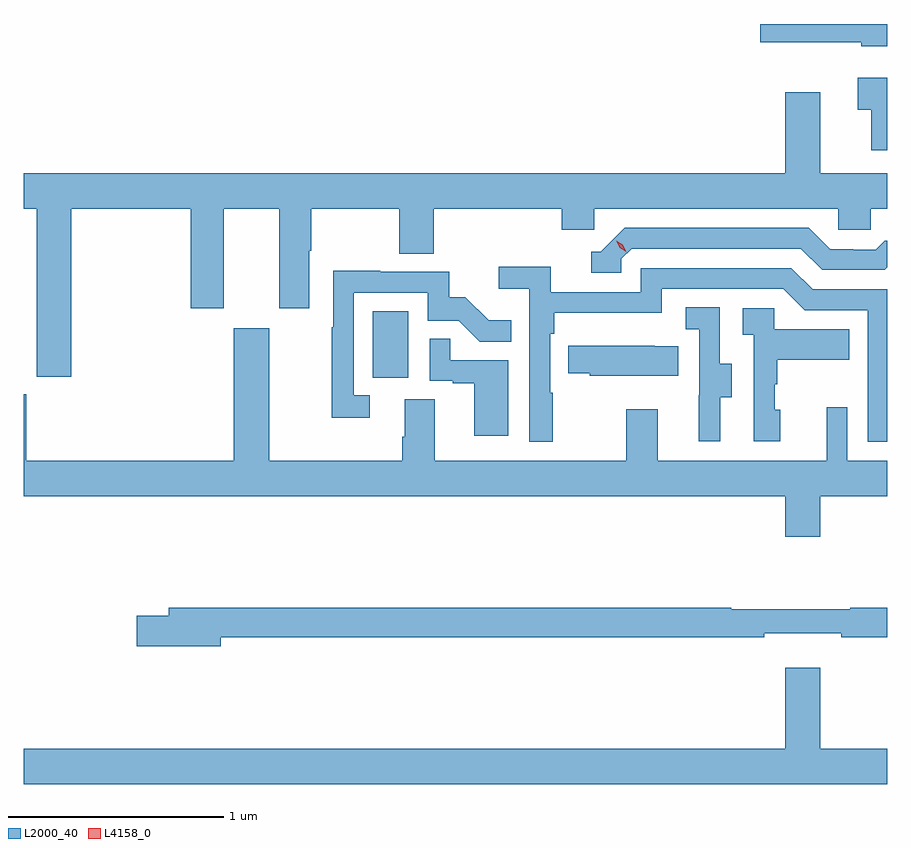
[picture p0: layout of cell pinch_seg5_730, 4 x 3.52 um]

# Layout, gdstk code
import gdstk
lib = gdstk.Library(unit=1e-6, precision=1e-09)
def R(c, l, rs):  # rectangles x0, y0, x1, y1
    for r in rs: c.add(gdstk.rectangle(r[:2], r[2:], *l))
def P(c, l, *ps):  # polygons
    for p in ps: c.add(gdstk.Polygon(p, *l))
L2000_40 = (2000, 40)
L4158_0 = (4158, 0)

pinch_seg5_730 = lib.new_cell('pinch_seg5_730')
R(pinch_seg5_730, L2000_40, [(858.404,905.262,858.568,905.569)])
P(pinch_seg5_730, L2000_40, [(860.786,906.899),(860.196,906.899),(860.196,906.815),(860.664,906.815),(860.664,906.797),(860.786,906.797)],
  [(860.786,906.649),(860.648,906.649),(860.648,906.502),(860.71,906.502),(860.71,906.315),(860.786,906.315)],
  [(857.006,906.044),(857.561,906.044),(857.561,905.583),(857.713,905.583),(857.713,906.044),(857.969,906.044),(857.969,905.583),(858.109,905.583),(858.109,905.848),(858.117,905.848),(858.117,906.044),(858.526,906.044),(858.526,905.836),(858.686,905.836),(858.686,906.044),(859.277,906.044),(859.277,905.946),(859.428,905.946),(859.428,906.044),(860.559,906.044),(860.559,905.946),(860.709,905.946),(860.709,906.044),(860.786,906.044),(860.786,906.208),(860.476,906.208),(860.476,906.583),(860.312,906.583),(860.312,906.208),(856.786,906.208),(856.786,906.044),(856.846,906.044),(856.846,905.265),(857.006,905.265)],
  [(859.554,905.811),(859.602,905.859),(860.385,905.859),(860.484,905.76),(860.773,905.76),(860.786,905.773),(860.786,905.896),(860.773,905.896),(860.731,905.853),(860.628,905.853),(860.628,905.856),(860.521,905.856),(860.422,905.955),(859.569,905.955),(859.458,905.844),(859.415,905.844),(859.415,905.748),(859.554,905.748)],
  [(859.237,905.192),(859.224,905.192),(859.224,905.465),(859.244,905.465),(859.244,905.561),(859.74,905.561),(859.74,905.673),(860.304,905.673),(860.403,905.574),(860.694,905.574),(860.694,904.965),(860.786,904.965),(860.786,905.67),(860.44,905.67),(860.341,905.769),(859.644,905.769),(859.644,905.658),(859.226,905.658),(859.226,905.774),(858.987,905.774),(858.987,905.672),(859.128,905.672),(859.128,904.965),(859.237,904.965)],
  [(858.388,905.181),(858.315,905.181),(858.315,905.655),(858.657,905.655),(858.657,905.526),(858.801,905.526),(858.899,905.428),(859.043,905.428),(859.043,905.527),(858.939,905.527),(858.832,905.634),(858.756,905.634),(858.756,905.751),(858.437,905.751),(858.437,905.756),(858.219,905.756),(858.219,905.495),(858.214,905.495),(858.214,905.076),(858.388,905.076)],
  [(860.011,905.17),(860.065,905.17),(860.065,905.325),(860.01,905.325),(860.01,905.588),(859.851,905.588),(859.851,905.485),(859.914,905.485),(859.914,905.181),(859.913,905.181),(859.913,904.968),(860.011,904.968)],
  [(860.29,905.112),(860.265,905.112),(860.265,905.231),(860.275,905.231),(860.275,905.345),(860.609,905.345),(860.609,905.485),(860.262,905.485),(860.262,905.583),(860.115,905.583),(860.115,905.459),(860.166,905.459),(860.166,904.968),(860.29,904.968)],
  [(860.476,904.712),(860.786,904.712),(860.786,904.876),(860.601,904.876),(860.601,905.125),(860.504,905.125),(860.504,904.876),(859.723,904.876),(859.723,905.116),(859.576,905.116),(859.576,904.876),(858.691,904.876),(858.691,905.162),(858.551,905.162),(858.551,904.988),(858.539,904.988),(858.539,904.876),(857.923,904.876),(857.923,905.491),(857.759,905.491),(857.759,904.876),(856.798,904.876),(856.798,905.185),(856.786,905.185),(856.786,904.712),(860.312,904.712),(860.312,904.524),(860.476,904.524)],
  [(859.03,905.343),(858.761,905.343),(858.761,905.441),(858.666,905.441),(858.666,905.247),(858.773,905.247),(858.773,905.235),(858.872,905.235),(858.872,904.992),(859.03,904.992)],
  [(859.817,905.407),(859.709,905.407),(859.709,905.41),(859.309,905.41),(859.309,905.281),(859.407,905.281),(859.407,905.27),(859.817,905.27)],
  [(857.698,904.06),(860.216,904.06),(860.216,904.079),(860.572,904.079),(860.572,904.06),(860.786,904.06),(860.786,904.196),(860.614,904.196),(860.614,904.189),(860.063,904.189),(860.063,904.196),(857.459,904.196),(857.459,904.16),(857.31,904.16),(857.31,904.018),(857.698,904.018)],
  [(860.786,903.544),(860.476,903.544),(860.476,903.919),(860.312,903.919),(860.312,903.544),(856.786,903.544),(856.786,903.38),(860.786,903.38)])
P(pinch_seg5_730, L4158_0, [(859.576,905.844),(859.546,905.863),(859.53,905.896),(859.53,905.896),(859.53,905.896),(859.561,905.876),(859.576,905.844),(859.576,905.844)])

lib.write_gds('pinch_seg5_730.gds')
